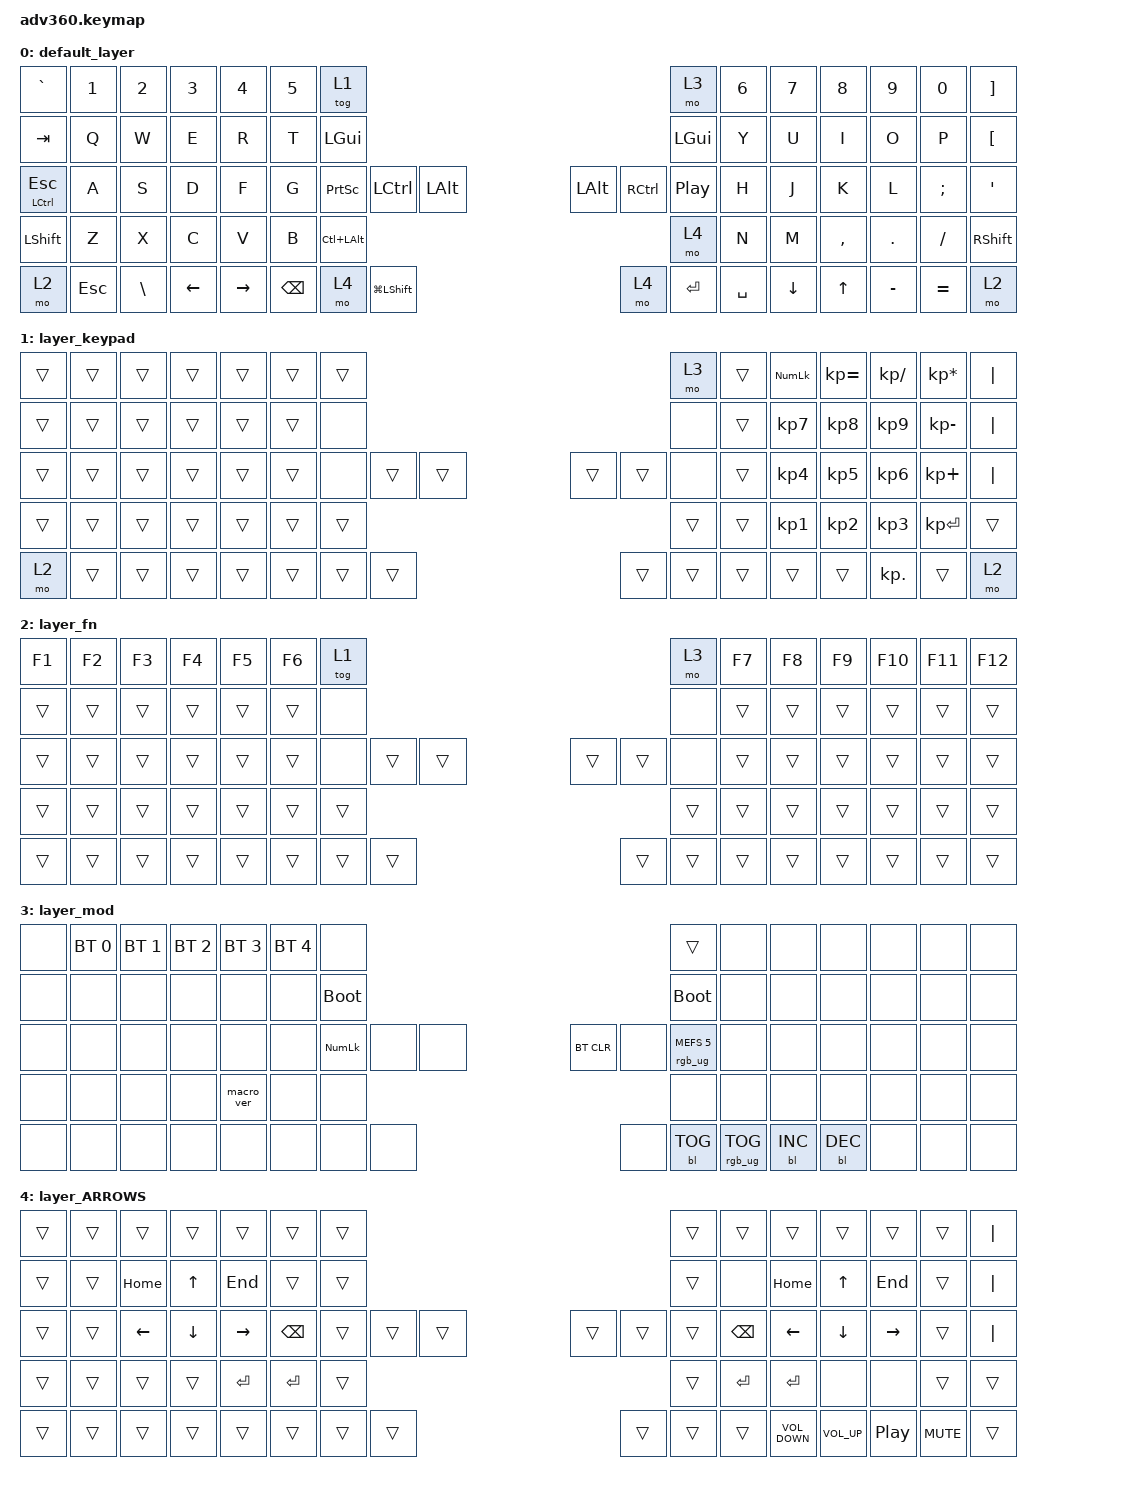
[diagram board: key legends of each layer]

/*
 * Copyright (c) 2020 The ZMK Contributors
 *
 * SPDX-License-Identifier: MIT
 */


/* THIS FILE WAS GENERATED!
 *
 * This file was generated automatically. You may or may not want to
 * edit it directly.
 */

#include <behaviors.dtsi>
#include <dt-bindings/zmk/keys.h>
#include <dt-bindings/zmk/bt.h>
#include <dt-bindings/zmk/rgb.h>
#include <dt-bindings/zmk/backlight.h>

/ {
  behaviors {
    #include "macros.dtsi"
    #include "version.dtsi"

    hm: homerow_mods {
        compatible = "zmk,behavior-hold-tap";
        label = "HOMEROW_MODS";
        #binding-cells = <2>;
        tapping-term-ms = <200>;
        quick_tap_ms = <175>;
        flavor = "tap-preferred";
        bindings = <&kp>, <&kp>;
    };
  };

    keymap {
        compatible = "zmk,keymap";


        default_layer {
            bindings = <
            &kp GRAVE   &kp N1         &kp N2    &kp N3     &kp N4  &kp N5                     &tog 1                                                                             &mo 3  &kp N6    &kp N7     &kp N8     &kp N9     &kp N0   &kp RBKT
              &kp TAB    &kp Q          &kp W     &kp E      &kp R   &kp T                   &kp LGUI                                                                          &kp LGUI   &kp Y     &kp U      &kp I      &kp O      &kp P   &kp LBKT
 &mt LEFT_CONTROL ESC    &kp A          &kp S     &kp D      &kp F   &kp G            &kp PRINTSCREEN  &kp LCTRL        &kp LALT                  &kp LALT  &kp RCTRL  &kp C_PLAY_PAUSE   &kp H     &kp J      &kp K      &kp L   &kp SEMI    &kp SQT
            &kp LSHFT    &kp Z          &kp X     &kp C      &kp V   &kp B                                          &kp LC(LALT)                     &mo 4                                &kp N     &kp M  &kp COMMA    &kp DOT   &kp FSLH  &kp RSHFT
                &mo 2  &kp ESC  &kp BACKSLASH  &kp LEFT  &kp RIGHT                           &kp BSPC      &mo 4  &kp LG(LSHIFT)                     &mo 4  &kp ENTER         &kp SPACE          &kp DOWN     &kp UP  &kp MINUS  &kp EQUAL      &mo 2
            >;
        };

        layer_keypad {
            bindings = <
 &trans  &trans  &trans  &trans  &trans  &trans            &trans                                                   &mo 3  &trans  &kp KP_NUM  &kp KP_EQUAL  &kp KP_DIVIDE  &kp KP_MULTIPLY  &kp PIPE
 &trans  &trans  &trans  &trans  &trans  &trans             &none                                                   &none  &trans   &kp KP_N7     &kp KP_N8      &kp KP_N9     &kp KP_MINUS  &kp PIPE
 &trans  &trans  &trans  &trans  &trans  &trans             &none  &trans  &trans                  &trans  &trans   &none  &trans   &kp KP_N4     &kp KP_N5      &kp KP_N6      &kp KP_PLUS  &kp PIPE
 &trans  &trans  &trans  &trans  &trans  &trans                            &trans                  &trans                  &trans   &kp KP_N1     &kp KP_N2      &kp KP_N3     &kp KP_ENTER    &trans
  &mo 2  &trans  &trans  &trans  &trans                    &trans  &trans  &trans                  &trans  &trans  &trans              &trans        &trans     &kp KP_DOT           &trans     &mo 2
            >;
        };

        layer_fn {
            bindings = <
 &kp F1  &kp F2  &kp F3  &kp F4  &kp F5  &kp F6            &tog 1                                                   &mo 3  &kp F7  &kp F8  &kp F9  &kp F10  &kp F11  &kp F12
 &trans  &trans  &trans  &trans  &trans  &trans             &none                                                   &none  &trans  &trans  &trans   &trans   &trans   &trans
 &trans  &trans  &trans  &trans  &trans  &trans             &none  &trans  &trans                  &trans  &trans   &none  &trans  &trans  &trans   &trans   &trans   &trans
 &trans  &trans  &trans  &trans  &trans  &trans                            &trans                  &trans                  &trans  &trans  &trans   &trans   &trans   &trans
 &trans  &trans  &trans  &trans  &trans                    &trans  &trans  &trans                  &trans  &trans  &trans          &trans  &trans   &trans   &trans   &trans
            >;
        };

        layer_mod {
            bindings = <
  &none  &bt BT_SEL 0  &bt BT_SEL 1  &bt BT_SEL 2  &bt BT_SEL 3  &bt BT_SEL 4                  &none                                                                          &trans   &none       &none       &none   &none   &none   &none
  &none         &none         &none         &none         &none         &none            &bootloader                                                                     &bootloader   &none       &none       &none   &none   &none   &none
  &none         &none         &none         &none         &none         &none             &kp KP_NUM   &none   &none                  &bt BT_CLR       &none  &rgb_ug RGB_MEFS_CMD 5   &none       &none       &none   &none   &none   &none
  &none         &none         &none         &none    &macro_ver         &none                                  &none                       &none                                       &none       &none       &none   &none   &none   &none
  &none         &none         &none         &none         &none                                &none   &none   &none                       &none  &bl BL_TOG         &rgb_ug RGB_TOG          &bl BL_INC  &bl BL_DEC   &none   &none   &none
            >;
        };

        layer_ARROWS {
            bindings = <
 &trans  &trans    &trans    &trans     &trans         &trans            &trans                                                  &trans         &trans             &trans           &trans            &trans      &trans  &kp PIPE
 &trans  &trans  &kp HOME    &kp UP    &kp END         &trans            &trans                                                  &trans          &none           &kp HOME           &kp UP           &kp END      &trans  &kp PIPE
 &trans  &trans  &kp LEFT  &kp DOWN  &kp RIGHT  &kp BACKSPACE            &trans  &trans  &trans                  &trans  &trans  &trans  &kp BACKSPACE           &kp LEFT         &kp DOWN         &kp RIGHT      &trans  &kp PIPE
 &trans  &trans    &trans    &trans  &kp ENTER      &kp ENTER                            &trans                  &trans                      &kp ENTER          &kp ENTER            &none             &none      &trans    &trans
 &trans  &trans    &trans    &trans     &trans                           &trans  &trans  &trans                  &trans  &trans  &trans                 &kp C_VOLUME_DOWN  &kp C_VOLUME_UP  &kp C_PLAY_PAUSE  &kp C_MUTE    &trans
            >;
        };

    };
};
